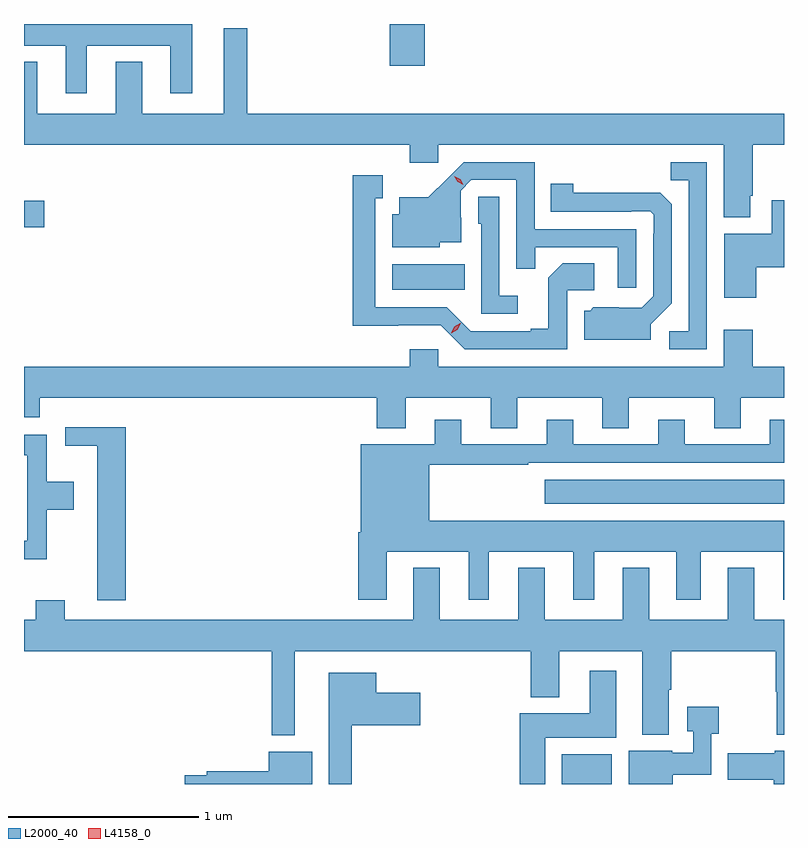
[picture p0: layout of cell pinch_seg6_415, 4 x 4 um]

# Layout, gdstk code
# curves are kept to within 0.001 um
import gdstk
lib = gdstk.Library(unit=1e-6, precision=1e-09)
def R(c, l, rs):  # rectangles x0, y0, x1, y1
    for r in rs: c.add(gdstk.rectangle(r[:2], r[2:], *l))
def P(c, l, *ps):  # polygons
    for p in ps: c.add(gdstk.Polygon(p, *l))
L2000_40 = (2000, 40)
L4158_0 = (4158, 0)

pinch_seg6_415 = lib.new_cell('pinch_seg6_415')
R(pinch_seg6_415, L2000_40, [(675.506,918.664,675.769,918.82), (675.417,920.138,676.675,920.266), (674.612,921.266,674.996,921.4), (672.675,921.593,672.781,921.735), (674.6,922.443,674.783,922.664)])
P(pinch_seg6_415, L2000_40, [(673.006,922.55),(673.445,922.55),(673.445,922.299),(673.561,922.299),(673.561,922.664),(672.675,922.664),(672.675,922.55),(672.896,922.55),(672.896,922.299),(673.006,922.299)],
  [(676.498,921.76),(676.511,921.76),(676.511,922.028),(676.675,922.028),(676.675,922.192),(673.849,922.192),(673.849,922.642),(673.727,922.642),(673.727,922.192),(673.297,922.192),(673.297,922.465),(673.157,922.465),(673.157,922.192),(672.745,922.192),(672.745,922.465),(672.675,922.465),(672.675,922.028),(674.705,922.028),(674.705,921.933),(674.856,921.933),(674.856,922.028),(676.358,922.028),(676.358,921.648),(676.498,921.648)],
  [(675.897,921.585),(675.363,921.585),(675.363,921.936),(674.99,921.936),(674.803,921.751),(674.651,921.751),(674.651,921.664),(674.612,921.664),(674.612,921.488),(674.862,921.488),(674.862,921.515),(674.977,921.515),(674.977,921.644),(674.973,921.644),(674.973,921.786),(675.03,921.843),(675.267,921.843),(675.267,921.376),(675.365,921.376),(675.365,921.489),(675.801,921.489),(675.801,921.276),(675.897,921.276)],
  [(676.269,921.936),(676.078,921.936),(676.078,921.841),(676.173,921.841),(676.173,921.048),(676.071,921.048),(676.071,920.952),(676.269,920.952)],
  [(675.534,921.264),(675.676,921.264),(675.676,921.404),(675.511,921.404),(675.435,921.328),(675.435,921.061),(675.341,921.061),(675.341,921.048),(675.027,921.048),(674.901,921.174),(674.524,921.174),(674.524,921.747),(674.563,921.747),(674.563,921.868),(674.406,921.868),(674.406,921.077),(674.868,921.078),(674.994,920.952),(675.534,920.952)],
  [(675.973,921.084),(676.083,921.194),(676.083,921.716),(676.024,921.775),(675.567,921.776),(675.567,921.823),(675.448,921.823),(675.448,921.675),(675.872,921.675),(675.872,921.678),(675.972,921.678),(675.99,921.66),(675.99,921.56),(675.987,921.56),(675.987,921.231),(675.927,921.171),(675.67,921.172),(675.654,921.156),(675.623,921.156),(675.623,921.002),(675.973,921.002)],
  [(675.274,921.235),(675.177,921.235),(675.177,921.755),(675.066,921.755),(675.066,921.612),(675.081,921.612),(675.081,921.138),(675.274,921.138)],
  [(676.528,921.383),(676.675,921.383),(676.675,921.736),(676.61,921.736),(676.61,921.559),(676.361,921.559),(676.361,921.222),(676.528,921.222)],
  [(675.271,920.696),(675.719,920.696),(675.719,920.536),(675.859,920.536),(675.859,920.696),(676.307,920.696),(676.307,920.536),(676.447,920.536),(676.447,920.696),(676.675,920.696),(676.675,920.86),(676.511,920.86),(676.511,921.055),(676.358,921.055),(676.358,920.86),(674.856,920.86),(674.856,920.953),(674.705,920.953),(674.705,920.86),(672.675,920.86),(672.675,920.594),(672.758,920.594),(672.758,920.696),(674.531,920.696),(674.531,920.537),(674.683,920.537),(674.683,920.696),(675.131,920.696),(675.131,920.536),(675.271,920.536)],
  [(674.584,919.886),(675.017,919.886),(675.017,919.635),(675.121,919.635),(675.121,919.886),(675.566,919.886),(675.566,919.635),(675.676,919.635),(675.676,919.886),(676.109,919.886),(676.109,919.635),(676.237,919.635),(676.237,919.886),(676.67,919.886),(676.67,919.635),(676.675,919.635),(676.675,920.05),(674.809,920.05),(674.809,920.343),(675.329,920.343),(675.329,920.355),(676.675,920.355),(676.675,920.581),(676.601,920.581),(676.601,920.451),(676.153,920.451),(676.153,920.581),(676.013,920.581),(676.013,920.451),(675.565,920.451),(675.565,920.581),(675.425,920.581),(675.425,920.451),(674.977,920.451),(674.977,920.581),(674.837,920.581),(674.837,920.452),(674.447,920.452),(674.447,919.99),(674.435,919.99),(674.435,919.635),(674.584,919.635)],
  [(673.211,920.542),(672.891,920.542),(672.891,920.444),(673.061,920.444),(673.061,919.632),(673.211,919.632)],
  [(672.794,920.107),(672.937,920.107),(672.937,920.254),(672.794,920.254),(672.794,920.502),(672.675,920.502),(672.675,920.394),(672.693,920.394),(672.693,919.944),(672.675,919.944),(672.675,919.847),(672.794,919.847)],
  [(674.101,919.364),(675.341,919.364),(675.341,919.121),(675.493,919.121),(675.493,919.364),(675.929,919.364),(675.929,918.923),(676.069,918.923),(676.069,919.159),(676.082,919.159),(676.082,919.364),(676.631,919.364),(676.631,919.149),(676.636,919.149),(676.636,918.923),(676.675,918.923),(676.675,919.528),(676.519,919.528),(676.519,919.801),(676.379,919.801),(676.379,919.528),(675.967,919.528),(675.967,919.801),(675.827,919.801),(675.827,919.528),(675.415,919.528),(675.415,919.801),(675.275,919.801),(675.275,919.528),(674.863,919.528),(674.863,919.801),(674.723,919.801),(674.723,919.528),(672.889,919.528),(672.889,919.63),(672.737,919.63),(672.737,919.528),(672.675,919.528),(672.675,919.364),(673.98,919.364),(673.98,918.92),(674.101,918.92)],
  [(675.418,918.908),(675.793,918.908),(675.793,919.261),(675.653,919.261),(675.653,919.036),(675.284,919.036),(675.284,918.664),(675.418,918.664)],
  [(674.401,918.974),(674.761,918.974),(674.761,919.144),(674.53,919.144),(674.53,919.249),(674.279,919.249),(674.279,918.664),(674.401,918.664)],
  [(676.09,918.712),(676.293,918.712),(676.293,918.929),(676.332,918.929),(676.332,919.071),(676.166,919.071),(676.166,918.941),(676.197,918.941),(676.197,918.828),(676.086,918.828),(676.086,918.838),(675.857,918.838),(675.857,918.664),(676.09,918.664)],
  [(676.675,918.838),(676.626,918.838),(676.626,918.827),(676.38,918.827),(676.38,918.686),(676.622,918.686),(676.622,918.664),(676.675,918.664)],
  [(674.191,918.835),(673.964,918.835),(673.964,918.731),(673.636,918.731),(673.636,918.711),(673.52,918.711),(673.52,918.664),(674.191,918.664)])
P(pinch_seg6_415, L4158_0, [(674.988,921.817),(674.957,921.833),(674.94,921.862),(674.94,921.863),(674.94,921.863),(674.971,921.847),(674.988,921.818),(674.988,921.817)],
  [(674.923,921.037),(674.923,921.037),(674.94,921.07),(674.972,921.089),(674.973,921.089),(674.973,921.089),(674.955,921.056),(674.923,921.037)])

lib.write_gds('pinch_seg6_415.gds')
